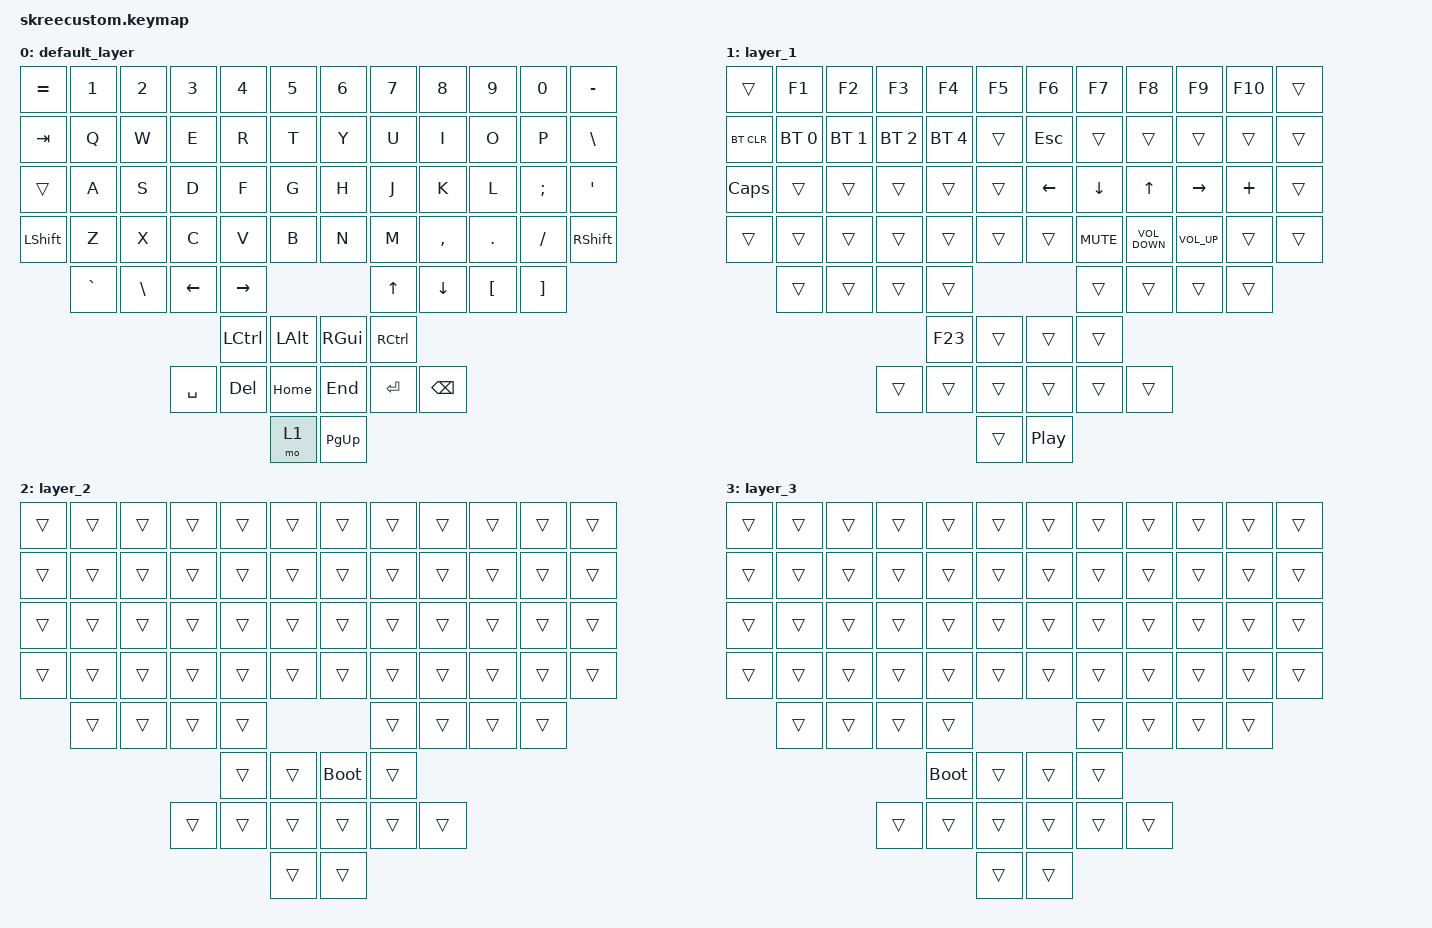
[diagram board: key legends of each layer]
#include <input/processors.dtsi>
#include <dt-bindings/zmk/input_transform.h>
#include <behaviors.dtsi>
#include <dt-bindings/zmk/bt.h>
#include <dt-bindings/zmk/keys.h>

/ {
    keymap {
        compatible = "zmk,keymap";

        default_layer {
            bindings = <
&kp EQUAL  &kp N1     &kp N2    &kp N3     &kp N4     &kp N5      &kp N6       &kp N7     &kp N8         &kp N9    &kp N0    &kp MINUS
&kp TAB    &kp Q      &kp W     &kp E      &kp R      &kp T       &kp Y        &kp U      &kp I          &kp O     &kp P     &kp BSLH
&trans     &kp A      &kp S     &kp D      &kp F      &kp G       &kp H        &kp J      &kp K          &kp L     &kp SEMI  &kp SQT
&kp LSHFT  &kp Z      &kp X     &kp C      &kp V      &kp B       &kp N        &kp M      &kp COMMA      &kp DOT   &kp FSLH  &kp RSHFT
           &kp GRAVE  &kp BSLH  &kp LEFT   &kp RIGHT                           &kp UP     &kp DOWN       &kp LBKT  &kp RBKT
                                           &kp LCTRL  &kp LALT    &kp RGUI     &kp RCTRL
                                &kp SPACE  &kp DEL    &kp HOME    &kp END      &kp RET    &kp BACKSPACE
                                                      &mo 1       &kp PAGE_UP
            >;
        };

        layer_1 {
            bindings = <
&trans      &kp F1        &kp F2        &kp F3        &kp F4        &kp F5    &kp F6            &kp F7      &kp F8             &kp F9           &kp F10   &trans
&bt BT_CLR  &bt BT_SEL 0  &bt BT_SEL 1  &bt BT_SEL 2  &bt BT_SEL 4  &trans    &kp ESC           &trans      &trans             &trans           &trans    &trans
&kp CAPS    &trans        &trans        &trans        &trans        &trans    &kp LEFT          &kp DOWN    &kp UP             &kp RIGHT        &kp PLUS  &trans
&trans      &trans        &trans        &trans        &trans        &trans    &trans            &kp C_MUTE  &kp C_VOLUME_DOWN  &kp C_VOLUME_UP  &trans    &trans
            &trans        &trans        &trans        &trans                                    &trans      &trans             &trans           &trans
                                                      &kp F23       &trans    &trans            &trans
                                        &trans        &trans        &trans    &trans            &trans      &trans
                                                                    &trans    &kp C_PLAY_PAUSE
            >;
        };

        layer_2 {
            bindings = <
&trans  &trans  &trans  &trans  &trans  &trans    &trans       &trans  &trans  &trans  &trans  &trans
&trans  &trans  &trans  &trans  &trans  &trans    &trans       &trans  &trans  &trans  &trans  &trans
&trans  &trans  &trans  &trans  &trans  &trans    &trans       &trans  &trans  &trans  &trans  &trans
&trans  &trans  &trans  &trans  &trans  &trans    &trans       &trans  &trans  &trans  &trans  &trans
        &trans  &trans  &trans  &trans                         &trans  &trans  &trans  &trans
                                &trans  &trans    &bootloader  &trans
                        &trans  &trans  &trans    &trans       &trans  &trans
                                        &trans    &trans
            >;
        };

        layer_3 {
            bindings = <
&trans  &trans  &trans  &trans  &trans       &trans    &trans  &trans  &trans  &trans  &trans  &trans
&trans  &trans  &trans  &trans  &trans       &trans    &trans  &trans  &trans  &trans  &trans  &trans
&trans  &trans  &trans  &trans  &trans       &trans    &trans  &trans  &trans  &trans  &trans  &trans
&trans  &trans  &trans  &trans  &trans       &trans    &trans  &trans  &trans  &trans  &trans  &trans
        &trans  &trans  &trans  &trans                         &trans  &trans  &trans  &trans
                                &bootloader  &trans    &trans  &trans
                        &trans  &trans       &trans    &trans  &trans  &trans
                                             &trans    &trans
            >;
        };
    };
};

// //right hand trackball overrides
// &trackball_peripheral_listener {
//     input-processors =
//         <&zip_xy_transform INPUT_TRANSFORM_XY_SWAP>,//this gets it to the default installation orientation
//         <&zip_temp_layer 3 500>;//activate layer 3 within 500ms of the trackball moving
// };
// //left hand trackball overrides
// &trackball_central_listener {
//     input-processors = 
//         <&zip_xy_transform INPUT_TRANSFORM_XY_SWAP>,//this gets it to the default installation orientation
//         <&zip_xy_scaler 1 3>,//multiply sensitivity by 1, divide by 3 (make it slower for scrolling)
//         <&zip_xy_to_scroll_mapper>,//make this trackball output scrolling events by default instead of cursor movement
//         <&zip_scroll_transform INPUT_TRANSFORM_Y_INVERT>;//invert vertical scrolling so that the view moves in the same direction as the top of the trackball.
// };
